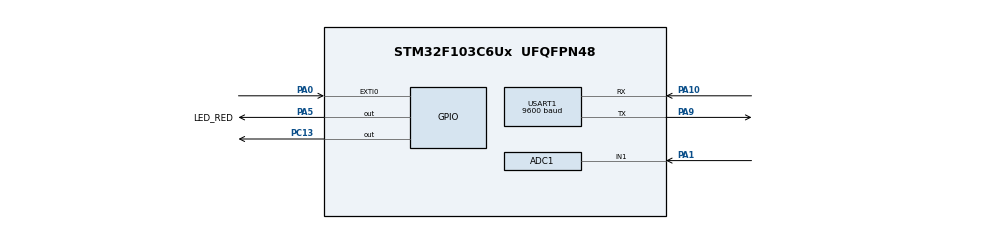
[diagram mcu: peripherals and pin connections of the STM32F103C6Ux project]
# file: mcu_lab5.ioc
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ADC1.Channel-3\#ChannelRegularConversion=ADC_CHANNEL_1
ADC1.ContinuousConvMode=ENABLE
ADC1.NbrOfConversionFlag=1
ADC1.Rank-3\#ChannelRegularConversion=1
ADC1.SamplingTime-3\#ChannelRegularConversion=ADC_SAMPLETIME_1CYCLE_5
ADC1.master=1
Mcu.Family=STM32F1
Mcu.Name=STM32F103C6Ux
Mcu.Package=UFQFPN48
NVIC.PriorityGroup=NVIC_PRIORITYGROUP_4
NVIC.TIM2_IRQn=true\:0\:0\:false\:false\:true\:true\:true
NVIC.USART1_IRQn=true\:0\:0\:false\:false\:true\:true\:true
PA0-WKUP.Signal=GPXTI0
PA1.Signal=ADCx_IN1
PA10.Mode=Asynchronous
PA10.Signal=USART1_RX
PA13.Mode=Serial_Wire
PA13.Signal=SYS_JTMS-SWDIO
PA14.Mode=Serial_Wire
PA14.Signal=SYS_JTCK-SWCLK
PA5.GPIO_Label=LED_RED
PA5.Signal=GPIO_Output
PA9.Mode=Asynchronous
PA9.Signal=USART1_TX
PC13-TAMPER-RTC.Signal=GPIO_Output
ProjectManager.HeapSize=0x200
ProjectManager.StackSize=0x400
ProjectManager.TargetToolchain=STM32CubeIDE
RCC.APB1Freq_Value=8000000
RCC.APB2Freq_Value=8000000
SH.ADCx_IN1.0=ADC1_IN1,IN1
TIM2.Period=9
TIM2.Prescaler=7999
USART1.BaudRate=9600
USART1.VirtualMode=VM_ASYNC
VP_TIM2_VS_ClockSourceINT.Mode=Internal
board=custom

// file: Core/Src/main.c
/* USER CODE BEGIN Header */
/**
  ******************************************************************************
  * @file           : main.c
  * @brief          : Main program body
  ******************************************************************************
  * @attention
  *
  * <h2><center>&copy; Copyright (c) 2022 STMicroelectronics.
  * All rights reserved.</center></h2>
  *
  * This software component is licensed by ST under BSD 3-Clause license,
  * the "License"; You may not use this file except in compliance with the
  * License. You may obtain a copy of the License at:
  *                        opensource.org/licenses/BSD-3-Clause
  *
  ******************************************************************************
  */
/* USER CODE END Header */
#include "main.h"

/* USER CODE BEGIN Includes */
#include <stdio.h>
#include "uart_msg.h"
#include "uart_communication.h"
#include "software_timer.h"
/* USER CODE END Includes */

ADC_HandleTypeDef hadc1;

TIM_HandleTypeDef htim2;

UART_HandleTypeDef huart1;

void SystemClock_Config(void);
static void MX_GPIO_Init(void);
static void MX_TIM2_Init(void);
static void MX_USART1_UART_Init(void);
static void MX_ADC1_Init(void);

/* USER CODE BEGIN 0 */

void HAL_UART_RxCpltCallback(UART_HandleTypeDef *huart){
	if(huart->Instance == USART1){
		// process recevied character
		if (index_buffer >= MAX_BUFFER_SIZE) {
			ERROR_CODE_G = BUFFER_IS_FULL;
			buffer_flag = 1;
			HAL_UART_Receive_IT(&huart1, &temp, 1);
			return;
		}

		switch (temp) {
			case ' ':
				break;
			case '\b': // backspace
				buffer[index_buffer - 1] = 0;
				index_buffer--;
				break;
			case '\r': // enter, process data now
				buffer_flag = 1;
				break;
			default:
				buffer[index_buffer++] = temp;
				break;
		}
		HAL_UART_Receive_IT(&huart1, &temp, 1);
  }
}

/* USER CODE END 0 */

int main(void)
{

  /* MCU Configuration--------------------------------------------------------*/

  /* Reset of all peripherals, Initializes the Flash interface and the Systick. */
  HAL_Init();

  /* Configure the system clock */
  SystemClock_Config();

  /* Initialize all configured peripherals */
  MX_GPIO_Init();
  MX_TIM2_Init();
  MX_USART1_UART_Init();
  MX_ADC1_Init();
  /* USER CODE BEGIN 2 */
  HAL_ADC_Start(&hadc1);
  HAL_TIM_Base_Start_IT(&htim2);

  HAL_UART_Receive(&huart1, &temp, 1, 10);
  HAL_UART_Receive_IT(&huart1, &temp, 1);

  /* USER CODE END 2 */

  /* Infinite loop */
  /* USER CODE BEGIN WHILE */
  setTimer1(10);
  while (1)
  {
	  if (buffer_flag == 1) {
		  command_parser_fsm();
		  buffer_flag = 0;
	  }
	  uart_communication_fsm();
    /* USER CODE END WHILE */

  }
}

void SystemClock_Config(void)
{
  RCC_OscInitTypeDef RCC_OscInitStruct = {0};
  RCC_ClkInitTypeDef RCC_ClkInitStruct = {0};
  RCC_PeriphCLKInitTypeDef PeriphClkInit = {0};

  /** Initializes the RCC Oscillators according to the specified parameters
  * in the RCC_OscInitTypeDef structure.
  */
  RCC_OscInitStruct.OscillatorType = RCC_OSCILLATORTYPE_HSI;
  RCC_OscInitStruct.HSIState = RCC_HSI_ON;
  RCC_OscInitStruct.HSICalibrationValue = RCC_HSICALIBRATION_DEFAULT;
  RCC_OscInitStruct.PLL.PLLState = RCC_PLL_NONE;
  if (HAL_RCC_OscConfig(&RCC_OscInitStruct) != HAL_OK)
  {
    Error_Handler();
  }
  /** Initializes the CPU, AHB and APB buses clocks
  */
  RCC_ClkInitStruct.ClockType = RCC_CLOCKTYPE_HCLK|RCC_CLOCKTYPE_SYSCLK
                              |RCC_CLOCKTYPE_PCLK1|RCC_CLOCKTYPE_PCLK2;
  RCC_ClkInitStruct.SYSCLKSource = RCC_SYSCLKSOURCE_HSI;
  RCC_ClkInitStruct.AHBCLKDivider = RCC_SYSCLK_DIV1;
  RCC_ClkInitStruct.APB1CLKDivider = RCC_HCLK_DIV1;
  RCC_ClkInitStruct.APB2CLKDivider = RCC_HCLK_DIV1;

  if (HAL_RCC_ClockConfig(&RCC_ClkInitStruct, FLASH_LATENCY_0) != HAL_OK)
  {
    Error_Handler();
  }
  PeriphClkInit.PeriphClockSelection = RCC_PERIPHCLK_ADC;
  PeriphClkInit.AdcClockSelection = RCC_ADCPCLK2_DIV2;
  if (HAL_RCCEx_PeriphCLKConfig(&PeriphClkInit) != HAL_OK)
  {
    Error_Handler();
  }
}

static void MX_ADC1_Init(void)
{

  ADC_ChannelConfTypeDef sConfig = {0};

  /** Common config
  */
  hadc1.Instance = ADC1;
  hadc1.Init.ScanConvMode = ADC_SCAN_DISABLE;
  hadc1.Init.ContinuousConvMode = ENABLE;
  hadc1.Init.DiscontinuousConvMode = DISABLE;
  hadc1.Init.ExternalTrigConv = ADC_SOFTWARE_START;
  hadc1.Init.DataAlign = ADC_DATAALIGN_RIGHT;
  hadc1.Init.NbrOfConversion = 1;
  if (HAL_ADC_Init(&hadc1) != HAL_OK)
  {
    Error_Handler();
  }
  /** Configure Regular Channel
  */
  sConfig.Channel = ADC_CHANNEL_1;
  sConfig.Rank = ADC_REGULAR_RANK_1;
  sConfig.SamplingTime = ADC_SAMPLETIME_1CYCLE_5;
  if (HAL_ADC_ConfigChannel(&hadc1, &sConfig) != HAL_OK)
  {
    Error_Handler();
  }

}

static void MX_TIM2_Init(void)
{

  TIM_ClockConfigTypeDef sClockSourceConfig = {0};
  TIM_MasterConfigTypeDef sMasterConfig = {0};

  htim2.Instance = TIM2;
  htim2.Init.Prescaler = 7999;
  htim2.Init.CounterMode = TIM_COUNTERMODE_UP;
  htim2.Init.Period = 9;
  htim2.Init.ClockDivision = TIM_CLOCKDIVISION_DIV1;
  htim2.Init.AutoReloadPreload = TIM_AUTORELOAD_PRELOAD_DISABLE;
  if (HAL_TIM_Base_Init(&htim2) != HAL_OK)
  {
    Error_Handler();
  }
  sClockSourceConfig.ClockSource = TIM_CLOCKSOURCE_INTERNAL;
  if (HAL_TIM_ConfigClockSource(&htim2, &sClockSourceConfig) != HAL_OK)
  {
    Error_Handler();
  }
  sMasterConfig.MasterOutputTrigger = TIM_TRGO_RESET;
  sMasterConfig.MasterSlaveMode = TIM_MASTERSLAVEMODE_DISABLE;
  if (HAL_TIMEx_MasterConfigSynchronization(&htim2, &sMasterConfig) != HAL_OK)
  {
    Error_Handler();
  }

}

static void MX_USART1_UART_Init(void)
{

  huart1.Instance = USART1;
  huart1.Init.BaudRate = 9600;
  huart1.Init.WordLength = UART_WORDLENGTH_8B;
  huart1.Init.StopBits = UART_STOPBITS_1;
  huart1.Init.Parity = UART_PARITY_NONE;
  huart1.Init.Mode = UART_MODE_TX_RX;
  huart1.Init.HwFlowCtl = UART_HWCONTROL_NONE;
  huart1.Init.OverSampling = UART_OVERSAMPLING_16;
  if (HAL_UART_Init(&huart1) != HAL_OK)
  {
    Error_Handler();
  }

}

static void MX_GPIO_Init(void)
{
  GPIO_InitTypeDef GPIO_InitStruct = {0};

  /* GPIO Ports Clock Enable */
  __HAL_RCC_GPIOC_CLK_ENABLE();
  __HAL_RCC_GPIOA_CLK_ENABLE();

  /*Configure GPIO pin Output Level */
  HAL_GPIO_WritePin(GPIOC, GPIO_PIN_13, GPIO_PIN_RESET);

  /*Configure GPIO pin Output Level */
  HAL_GPIO_WritePin(LED_RED_GPIO_Port, LED_RED_Pin, GPIO_PIN_RESET);

  /*Configure GPIO pin : PC13 */
  GPIO_InitStruct.Pin = GPIO_PIN_13;
  GPIO_InitStruct.Mode = GPIO_MODE_OUTPUT_PP;
  GPIO_InitStruct.Pull = GPIO_NOPULL;
  GPIO_InitStruct.Speed = GPIO_SPEED_FREQ_LOW;
  HAL_GPIO_Init(GPIOC, &GPIO_InitStruct);

  /*Configure GPIO pin : PA0 */
  GPIO_InitStruct.Pin = GPIO_PIN_0;
  GPIO_InitStruct.Mode = GPIO_MODE_IT_RISING;
  GPIO_InitStruct.Pull = GPIO_NOPULL;
  HAL_GPIO_Init(GPIOA, &GPIO_InitStruct);

  /*Configure GPIO pin : LED_RED_Pin */
  GPIO_InitStruct.Pin = LED_RED_Pin;
  GPIO_InitStruct.Mode = GPIO_MODE_OUTPUT_PP;
  GPIO_InitStruct.Pull = GPIO_NOPULL;
  GPIO_InitStruct.Speed = GPIO_SPEED_FREQ_LOW;
  HAL_GPIO_Init(LED_RED_GPIO_Port, &GPIO_InitStruct);

}

/* USER CODE BEGIN 4 */
void HAL_TIM_PeriodElapsedCallback(TIM_HandleTypeDef *htim){
	// timerRun()
	if (htim->Instance == TIM2) {
		//timestamp++; // increase timestamp by 10ms
		timerRun();
	}

	if (htim->Instance == TIM3) {
		// do something
	}
}
/* USER CODE END 4 */

void Error_Handler(void)
{
  __disable_irq();
  while (1)
  {
  }
}

/************************ (C) COPYRIGHT STMicroelectronics *****END OF FILE****/
